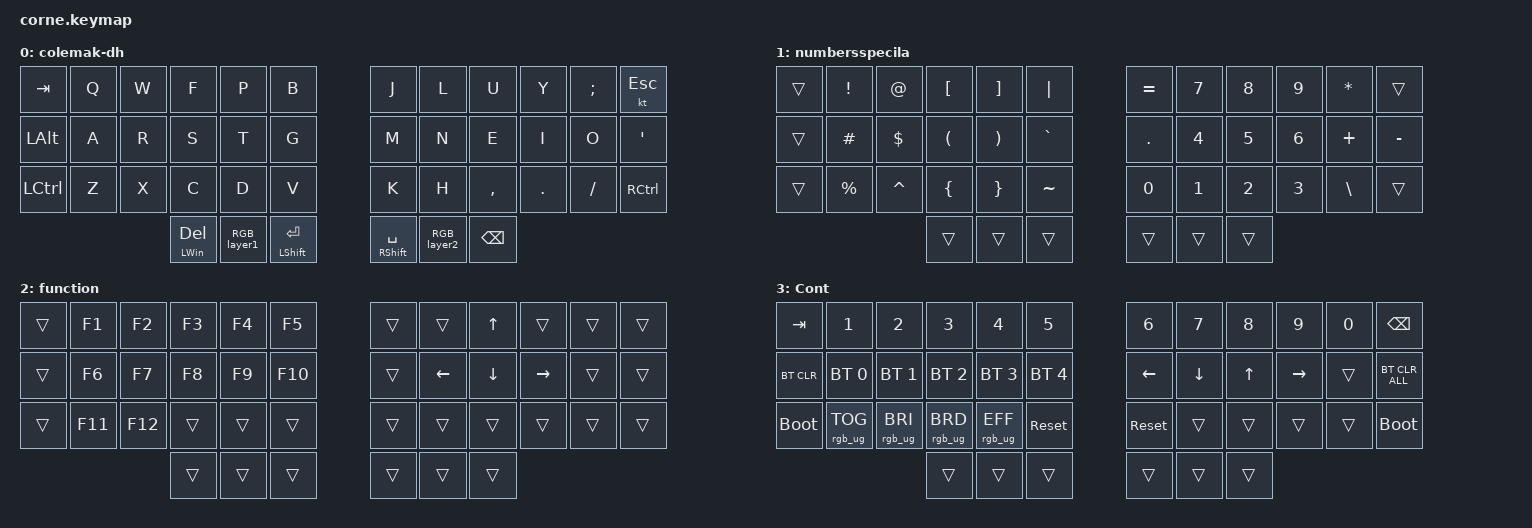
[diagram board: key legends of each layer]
/*
 * Copyright (c) 2020 The ZMK Contributorsfp
 *
 * SPDX-License-Identifier: MIT
 */

#include <behaviors.dtsi>
#include <dt-bindings/zmk/bt.h>
#include <dt-bindings/zmk/keys.h>
#include <dt-bindings/zmk/rgb.h>

/*
*&kscan0 {
*        col-gpios
*            = <&pro_micro 14 GPIO_ACTIVE_HIGH>
*            , <&pro_micro 15 GPIO_ACTIVE_HIGH>
*            , <&pro_micro 18 GPIO_ACTIVE_HIGH>
*            , <&pro_micro 19 GPIO_ACTIVE_HIGH>
*            , <&pro_micro 20 GPIO_ACTIVE_HIGH>
*            , <&pro_micro 21 GPIO_ACTIVE_HIGH>
*            ;
*        row-gpios
*            = <&pro_micro 4 (GPIO_ACTIVE_HIGH | GPIO_PULL_DOWN)>
*            , <&pro_micro 5 (GPIO_ACTIVE_HIGH | GPIO_PULL_DOWN)>
*            , <&pro_micro 8 (GPIO_ACTIVE_HIGH | GPIO_PULL_DOWN)>
*            , <&pro_micro 7 (GPIO_ACTIVE_HIGH | GPIO_PULL_DOWN)>
*            ;
*    };
*/

&led_strip { chain-length = <27>; };

/ {
    combos {
        compatible = "zmk,combos";

        settingslayer {
            bindings = <&RGB_layer3>;
            key-positions = <37 40>;
        };
    };

    macros {
        RGB_layer1: RGB_layer1 {
            compatible = "zmk,behavior-macro";
            #binding-cells = <0>;
            bindings =
                <&to 1 &rgb_ug RGB_COLOR_HSB(62,100,17)>,
                <&macro_pause_for_release>,
                <&to 0 &rgb_ug RGB_COLOR_HSB(302,100,14)>;

            label = "RGB_LAYER1";
        };

        RGB_layer2: RGB_layer2 {
            compatible = "zmk,behavior-macro";
            #binding-cells = <0>;
            bindings =
                <&to 2 &rgb_ug RGB_COLOR_HSB(176,100,16)>,
                <&macro_pause_for_release>,
                <&to 0 &rgb_ug RGB_COLOR_HSB(302,100,15)>;

            label = "RGB_LAYER2";
        };

        RGB_layer3: RGB_layer3 {
            compatible = "zmk,behavior-macro";
            #binding-cells = <0>;
            bindings = <&to 3 &rgb_ug RGB_COLOR_HSB(116,100,18)>;
            label = "RGB_LAYER3";
        };
    };

    behaviors {
        HT: HT {
            compatible = "zmk,behavior-hold-tap";
            label = "HT";
            bindings = <&kp>, <&kp>;

            #binding-cells = <2>;
            tapping-term-ms = <200>;
            quick-tap-ms = <175>;
            flavor = "tap-preferred";
        };
    };

    keymap {
        compatible = "zmk,keymap";

        colemak-dh {
            // -----------------------------------------------------------------------------------------

            bindings = <
&kp TAB    &kp Q  &kp W  &kp F                &kp P        &kp B                 &kp J             &kp L        &kp U          &kp Y    &kp SEMI   &kt ESCAPE
&kp LALT   &kp A  &kp R  &kp S                &kp T        &kp G                 &kp M             &kp N        &kp E          &kp I    &kp O      &kp APOS
&kp LCTRL  &kp Z  &kp X  &kp C                &kp D        &kp V                 &kp K             &kp H        &kp COMMA      &kp DOT  &kp SLASH  &kp RCTRL
                         &HT LEFT_WIN DELETE  &RGB_layer1  &HT LEFT_SHIFT RET    &HT RSHIFT SPACE  &RGB_layer2  &kp BACKSPACE
            >;
        };

        numbersspecila {
            bindings = <
&trans  &kp EXCL     &kp AT      &kp LBKT              &kp RBKT               &kp PIPE     &kp EQUAL  &kp N7  &kp N8  &kp N9  &kp ASTRK      &trans
&trans  &kp HASH     &kp DOLLAR  &kp LEFT_PARENTHESIS  &kp RIGHT_PARENTHESIS  &kp GRAVE    &kp DOT    &kp N4  &kp N5  &kp N6  &kp PLUS       &kp MINUS
&trans  &kp PERCENT  &kp CARET   &kp LEFT_BRACE        &kp RIGHT_BRACE        &kp TILDE    &kp N0     &kp N1  &kp N2  &kp N3  &kp BACKSLASH  &trans
                                 &trans                &trans                 &trans       &trans     &trans  &trans
            >;
        };

        function {
            // -----------------------------------------------------------------------------------------
            // |  TAB |  !  |  @  |  #  |  $  |  %  |   |  ^  |  &  |  *  |  (  |  )  | BSPC |
            // | CTRL |     |     |     |     |     |   |  -  |  =  |  [  |  ]  |  \  |  `   |
            // | SHFT |     |     |     |     |     |   |  _  |  +  |  {  |  }  | "|" |  ~   |
            //                    | GUI |     | SPC |   | ENT |     | ALT |

            bindings = <
&trans  &kp F1   &kp F2   &kp F3  &kp F4  &kp F5     &trans  &trans    &kp UP    &trans     &trans  &trans
&trans  &kp F6   &kp F7   &kp F8  &kp F9  &kp F10    &trans  &kp LEFT  &kp DOWN  &kp RIGHT  &trans  &trans
&trans  &kp F11  &kp F12  &trans  &trans  &trans     &trans  &trans    &trans    &trans     &trans  &trans
                          &trans  &trans  &trans     &trans  &trans    &trans
            >;
        };

        Cont {
            // -----------------------------------------------------------------------------------------
            // |  TAB |  1  |  2  |  3  |  4  |  5  |   |  6  |  7  |  8  |  9  |  0  | BSPC |
            // | BTCLR| BT1 | BT2 | BT3 | BT4 | BT5 |   | LFT | DWN |  UP | RGT |     |      |
            // | SHFT |     |     |     |     |     |   |     |     |     |     |     |      |
            //                    | GUI |     | SPC |   | ENT |     | ALT |

            bindings = <
&kp TAB      &kp N1           &kp N2           &kp N3           &kp N4           &kp N5          &kp N6      &kp N7    &kp N8  &kp N9     &kp N0  &kp BSPC
&bt BT_CLR   &bt BT_SEL 0     &bt BT_SEL 1     &bt BT_SEL 2     &bt BT_SEL 3     &bt BT_SEL 4    &kp LEFT    &kp DOWN  &kp UP  &kp RIGHT  &trans  &bt BT_CLR_ALL
&bootloader  &rgb_ug RGB_TOG  &rgb_ug RGB_BRI  &rgb_ug RGB_BRD  &rgb_ug RGB_EFF  &sys_reset      &sys_reset  &trans    &trans  &trans     &trans  &bootloader
                                               &trans           &trans           &trans          &trans      &trans    &trans
            >;
        };
    };
};
